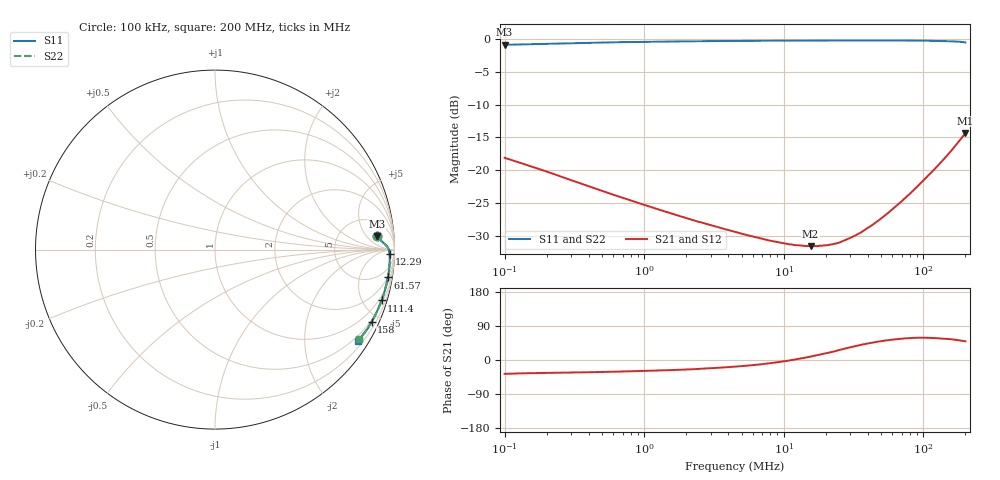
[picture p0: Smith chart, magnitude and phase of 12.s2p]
#  HZ  S  RI  R  50.00
! Rohde & Schwarz Vector Network Analyzer
! Rohde-Schwarz,ZNLE6-2Port,1323001256200024,1.71.1.10-23.02.1.238
! Created: UTC 4/11/2025, 6:34:39 AM
! freq[Hz]  re:S11  im:S11  re:S21  im:S21  re:S12  im:S12  re:S22  im:S22
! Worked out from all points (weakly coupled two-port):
!   1001 points, 100 kHz to 200 MHz, reference 50 ohm
!   highest |S21| = -14.31 dB at 200 MHz (marker M1); lowest = -31.6 dB at 15.56 MHz (marker M2)
!   lowest |S11| = -0.9 dB at 100 kHz (marker M3), VSWR 19.90, Z = 600 + j486 ohm
!   |S11| at or under -10 dB: nowhere
!   |S22| runs from -0.9 to -0.2 dB; largest |S21 - S12| = 0.0034
!   S11 on the Smith chart (normalised r, x): 100 kHz: 12, +10; 12.29 MHz: 41, -37; 61.57 MHz: 2, -12; 111.4 MHz: 0.69, -6.63; 158 MHz: 0.42, -4.50; 200 MHz: 0.37, -3.40
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100000  0.9013 0.0738  0.0999 -0.0743  0.1 -0.0743  0.9011 0.0736
355854.1  0.9342 0.0418  0.0664 -0.0426  0.0664 -0.0426  0.9342 0.0418
1266322  0.9558 0.0208  0.0445 -0.0234  0.0445 -0.0235  0.9557 0.0209
2397897  0.9627 0.0118  0.0373 -0.0165  0.0373 -0.0165  0.9627 0.0119
4472136  0.9679 0.0015  0.0323 -0.0102  0.0322 -0.0104  0.9679 0.00199
8152604  0.9713 -0.0112  0.0287 -0.00407  0.0286 -0.00443  0.9715 -0.0105
1.229e7  0.973 -0.0235  0.0269 0.000829  0.0268 0.000535  0.9732 -0.0229
1.55555e7  0.9737 -0.0331  0.0261 0.00412  0.0261 0.00376  0.9738 -0.032
1.591428e7  0.9737 -0.034  0.026 0.00446  0.026 0.00427  0.9738 -0.0331
1.999024e7  0.9739 -0.0457  0.0255 0.00827  0.0257 0.00781  0.9741 -0.0442
2.327226e7  0.9737 -0.055  0.0253 0.0108  0.0254 0.0111  0.974 -0.053
2.990698e7  0.9731 -0.0722  0.0255 0.0168  0.0255 0.0167  0.9733 -0.0705
3.508279e7  0.972 -0.0864  0.0257 0.021  0.0261 0.0205  0.9724 -0.084
3.992194e7  0.971 -0.0988  0.0263 0.025  0.0264 0.0248  0.9713 -0.0966
5.663162e7  0.9652 -0.1431  0.029 0.0381  0.0296 0.0375  0.9658 -0.1394
6.157017e7  0.9632 -0.1554  0.0303 0.0419  0.0304 0.0418  0.9636 -0.1521
8.408385e7  0.9503 -0.2139  0.0366 0.0593  0.0378 0.0584  0.9511 -0.2092
1.113911e8  0.9278 -0.2831  0.0492 0.0801  0.0507 0.079  0.9299 -0.2782
1.316659e8  0.9066 -0.3353  0.0613 0.0949  0.0627 0.0938  0.9092 -0.3296
1.580149e8  0.8725 -0.4042  0.081 0.1149  0.0828 0.1133  0.876 -0.3961
1.757569e8  0.8447 -0.4492  0.0977 0.1278  0.0999 0.1259  0.8483 -0.4407
2e8  0.7959 -0.5066  0.1255 0.1461  0.1281 0.144  0.8015 -0.4993
